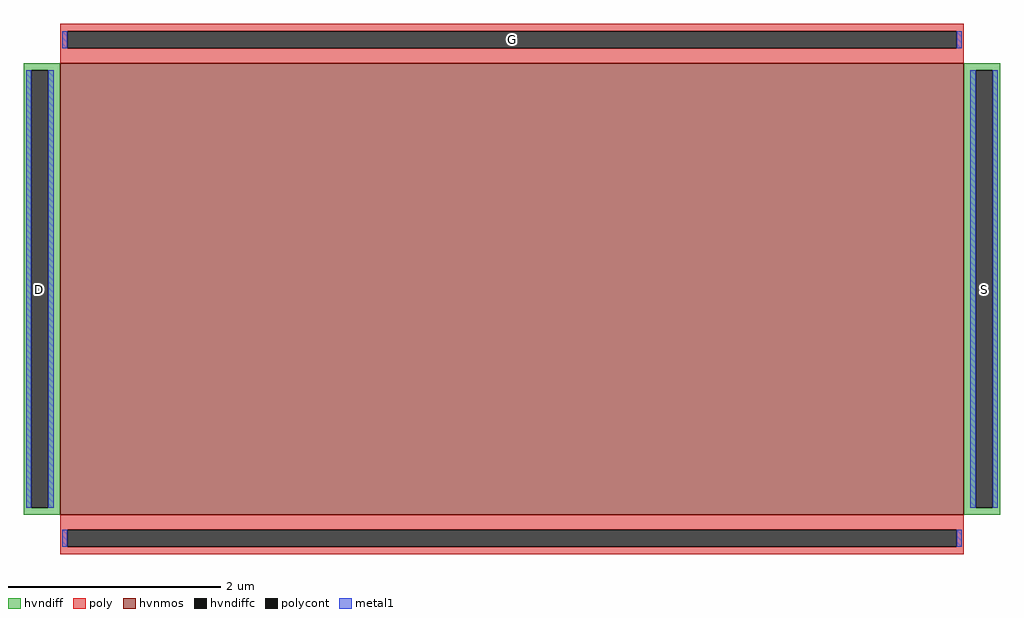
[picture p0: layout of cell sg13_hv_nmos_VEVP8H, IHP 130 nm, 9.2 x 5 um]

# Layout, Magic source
magic
tech ihp-sg13cmos5l
<< hvnmos >>
rect -426 -213 426 213
<< hvndiff >>
rect -460 206 -426 213
rect -460 -206 -453 206
rect -437 -206 -426 206
rect -460 -213 -426 -206
rect 426 206 460 213
rect 426 -206 437 206
rect 453 -206 460 206
rect 426 -213 460 -206
<< hvndiffc >>
rect -453 -206 -437 206
rect 437 -206 453 206
<< poly >>
rect -426 243 426 250
rect -426 227 -419 243
rect 419 227 426 243
rect -426 213 426 227
rect -426 -227 426 -213
rect -426 -243 -419 -227
rect 419 -243 426 -227
rect -426 -250 426 -243
<< polycont >>
rect -419 227 419 243
rect -419 -243 419 -227
<< metal1 >>
rect -424 227 -419 243
rect 419 227 424 243
rect -458 -206 -453 206
rect -437 -206 -432 206
rect 432 -206 437 206
rect 453 -206 458 206
rect -424 -243 -419 -227
rect 419 -243 424 -227
<< labels >>
rlabel hvndiffc -445 0 -445 0 0 D
port 16 nsew
rlabel hvndiffc 445 0 445 0 0 S
port 17 nsew
rlabel polycont 0 235 0 235 0 G
port 18 nsew
<< properties >>
string gencell sg13_hv_nmos
string library sg13cmos5l
string parameters w 4.26 l 8.52 m 1 ng 1 diffcov 100 polycov 100 guard 0 glc 1 grc 1 gtc 1 gbc 1 tbcov 100 rlcov 100 topc 1 botc 1 poverlap 0 doverlap 1 lmin 0.45 wmin 0.15 class mosfet compatible {sg13_lv_nmos sg13_hv_nmos} full_metal 1 conn_gates 0 gate_ring 0 doports 1 viasrc 0 viadrn 0 viagate 0 ccols 1 viagb 0 viagr 0 viagl 0 viagt 0
<< end >>
